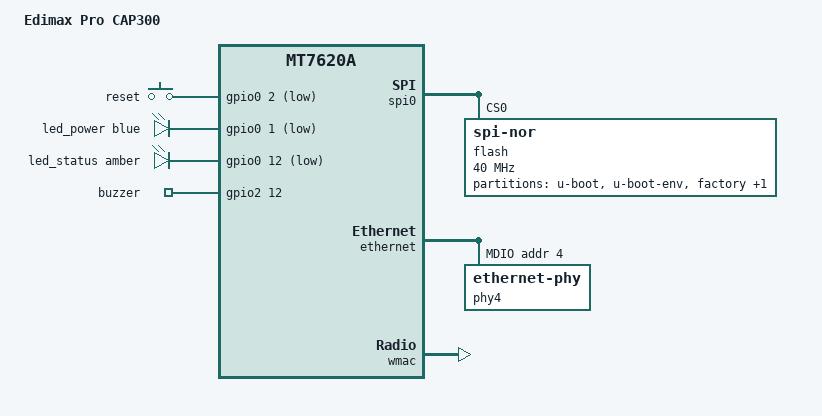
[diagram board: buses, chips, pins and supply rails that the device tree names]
// SPDX-License-Identifier: GPL-2.0-or-later OR MIT

#include "mt7620a.dtsi"

#include <dt-bindings/gpio/gpio.h>
#include <dt-bindings/input/input.h>
#include <dt-bindings/leds/common.h>

/ {
	compatible = "edimax,cap300", "ralink,mt7620a-soc";
	model = "Edimax Pro CAP300";

	label-mac-device = &ethernet;

	aliases {
		led-boot = &led_status;
		led-failsafe = &led_status;
		led-running = &led_power;
		led-upgrade = &led_status;
	};

	chosen {
		bootargs = "console=ttyS0,57600";
	};

	keys {
		compatible = "gpio-keys";

		reset {
			label = "reset";
			gpios = <&gpio0 2 GPIO_ACTIVE_LOW>;
			linux,code = <KEY_RESTART>;
			debounce-interval = <60>;
		};
	};

	leds {
		compatible = "gpio-leds";

		led_power: power {
			function = LED_FUNCTION_POWER;
			color = <LED_COLOR_ID_BLUE>;
			gpios = <&gpio0 1 GPIO_ACTIVE_LOW>;
			default-state = "on";
		};

		led_status: status {
			function = LED_FUNCTION_STATUS;
			color = <LED_COLOR_ID_AMBER>;
			gpios = <&gpio0 12 GPIO_ACTIVE_LOW>;
		};
	};

	gpio-export {
		compatible = "gpio-export";

		buzzer {
			gpio-export,name = "buzzer";
			gpio-export,output = <0>;
			gpios = <&gpio2 12 GPIO_ACTIVE_HIGH>;
		};
	};
};

&gpio2 {
	status = "okay";
};

&spi0 {
	status = "okay";

	flash@0 {
		compatible = "jedec,spi-nor";
		reg = <0>;
		spi-max-frequency = <40000000>;

		partitions {
			compatible = "fixed-partitions";
			#address-cells = <1>;
			#size-cells = <1>;

			partition@0 {
				label = "u-boot";
				reg = <0x0 0x30000>;
				read-only;
			};

			partition@30000 {
				label = "u-boot-env";
				reg = <0x30000 0x10000>;
			};

			partition@40000 {
				label = "factory";
				reg = <0x40000 0x10000>;
				read-only;

				nvmem-layout {
					compatible = "fixed-layout";
					#address-cells = <1>;
					#size-cells = <1>;

					eeprom_factory_0: eeprom@0 {
						reg = <0x0 0x200>;
					};

					macaddr_factory_4: macaddr@4 {
						compatible = "mac-base";
						reg = <0x4 0x6>;
						#nvmem-cell-cells = <1>;
					};
				};
			};

			partition@50000 {
				/*
				 * Extends to 0xfe0000 so mtdsplit hands the
				 * unused tail to rootfs_data; u-boot rejects
				 * images above 0xc80000, hence IMAGE_SIZE
				 * 12480k in mt7620.mk.
				 */
				compatible = "denx,uimage";
				label = "firmware";
				reg = <0x50000 0xf90000>;
			};
		};
	};
};

&state_default {
	gpio {
		groups = "i2c", "uartf", "nd_sd", "rgmii2";
		function = "gpio";
	};
};

&ethernet {
	pinctrl-names = "default";
	pinctrl-0 = <&rgmii1_pins &mdio_pins>;

	nvmem-cells = <&macaddr_factory_4 0>;
	nvmem-cell-names = "mac-address";

	mediatek,no-swconfig;

	port@5 {
		status = "okay";
		phy-handle = <&phy4>;
		phy-mode = "rgmii-id";
	};

	mdio-bus {
		status = "okay";

		phy4: ethernet-phy@4 {
			reg = <4>;
			phy-mode = "rgmii-rxid";
		};
	};
};

&gsw {
	mediatek,ephy-base = /bits/ 8 <8>;
};

&wmac {
	/* External PA/LNA on GPIO 18..21, driven by rt2x00 through the "pa" state. */
	pinctrl-names = "default", "pa_gpio";
	pinctrl-0 = <&pa_pins>;
	pinctrl-1 = <&pa_gpio_pins>;

	nvmem-cells = <&eeprom_factory_0>, <&macaddr_factory_4 1>;
	nvmem-cell-names = "eeprom", "mac-address";
};
